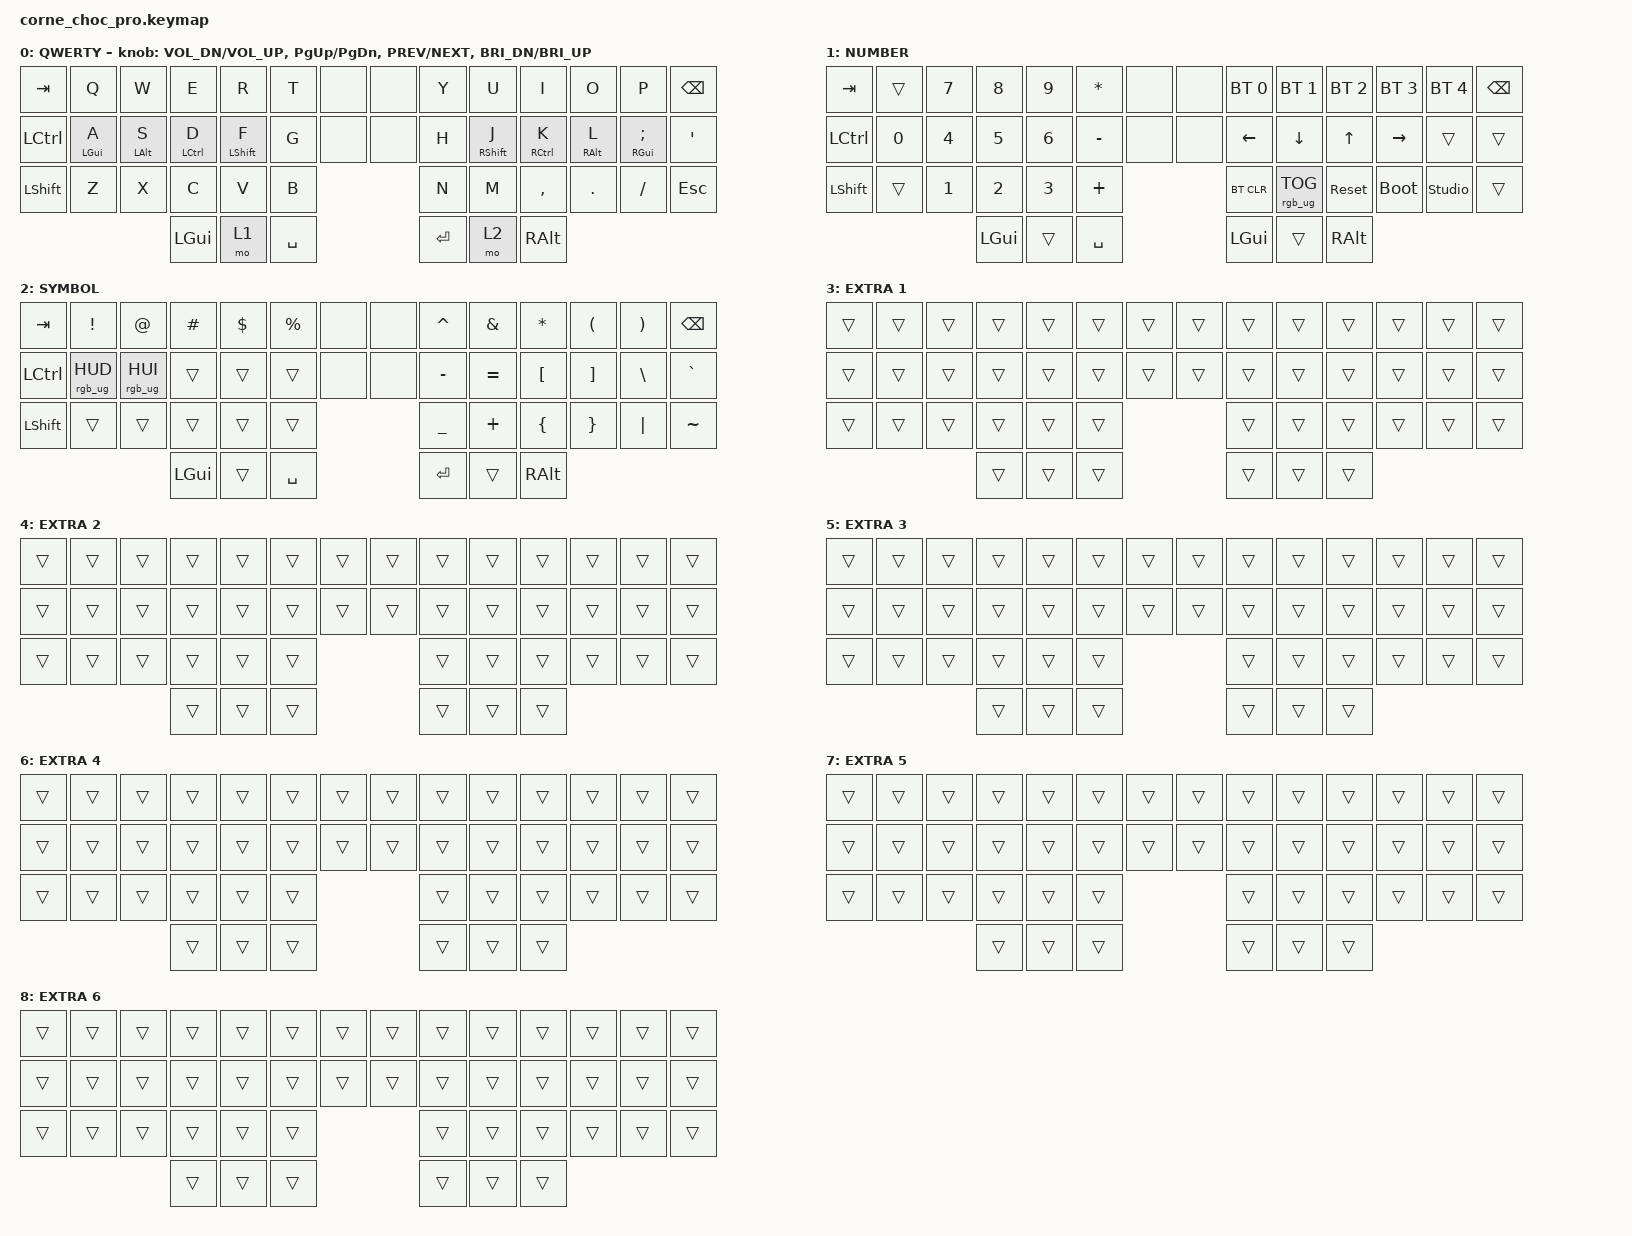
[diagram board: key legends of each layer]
/*
 * Copyright (c) 2020 The ZMK Contributors
 *
 * SPDX-License-Identifier: MIT
 */

#include <behaviors.dtsi>
#include <dt-bindings/zmk/bt.h>
#include <dt-bindings/zmk/keys.h>
#include <dt-bindings/zmk/rgb.h>

/ {
    chosen { zmk,physical-layout = &default_layout; };
};

&mt {
    tapping-term-ms = <180>;
};

/ {
    keymap {
        compatible = "zmk,keymap";

        default_layer {
            display-name = "QWERTY";

            // ------------------------------------------------------------------------------------------------------
            // |  TAB |  Q  |  W  |  E  |  R  |  T  |     |     |  Y  |  U   |  I  |  O  |  P  | BSPC |
            // | CTRL |  A  |  S  |  D  |  F  |  G  |     |     |  H  |  J   |  K  |  L  |  ;  |  '   |
            // | SHFT |  Z  |  X  |  C  |  V  |  B  |           |  N  |  M   |  ,  |  .  |  /  | ESC  |
            //                    | GUI | LWR | SPC |           | ENT | RSE  | ALT |
            // Home row mods on A S D F / J K L ; (GUI ALT CTRL SHFT / SHFT CTRL ALT GUI)

            bindings = <
&kp TAB    &kp Q           &kp W           &kp E               &kp R             &kp T        &none  &none  &kp Y    &kp U              &kp I                &kp O            &kp P               &kp BSPC
&kp LCTRL  &mt LEFT_GUI A  &mt LEFT_ALT S  &mt LEFT_CONTROL D  &mt LEFT_SHIFT F  &kp G        &none  &none  &kp H    &mt RIGHT_SHIFT J  &mt RIGHT_CONTROL K  &mt RIGHT_ALT L  &mt RIGHT_GUI SEMI  &kp SQT
&kp LSHFT  &kp Z           &kp X           &kp C               &kp V             &kp B                      &kp N    &kp M              &kp COMMA            &kp DOT          &kp FSLH            &kp ESC
                                           &kp LGUI            &mo 1             &kp SPACE                  &kp RET  &mo 2              &kp RALT
            >;

            sensor-bindings = <&inc_dec_kp C_VOL_DN C_VOL_UP &inc_dec_kp PG_UP PG_DN &inc_dec_kp C_PREV C_NEXT &inc_dec_kp C_BRI_DN C_BRI_UP>;
        };

        lower_layer {
            display-name = "NUMBER";

            // ------------------------------------------------------------------------------------------------------
            // |  TAB |     |  7  |  8  |  9  |  *  |     |     | BT1 | BT2 | BT3 | BT4  | BT5    | BSPC |
            // | CTRL |  0  |  4  |  5  |  6  |  -  |     |     | LFT | DWN |  UP | RGT  |        |      |
            // | SHFT |     |  1  |  2  |  3  |  +  |           | BTCR| RGB | RST | BOOT | Unlock |      |
            //                    | GUI |     | SPC |           | GUI |     | ALT |

            bindings = <
&kp TAB    &trans  &kp N7  &kp N8    &kp N9  &kp ASTRK    &none  &none  &bt BT_SEL 0  &bt BT_SEL 1     &bt BT_SEL 2  &bt BT_SEL 3  &bt BT_SEL 4    &kp BSPC
&kp LCTRL  &kp N0  &kp N4  &kp N5    &kp N6  &kp MINUS    &none  &none  &kp LEFT      &kp DOWN         &kp UP        &kp RIGHT     &trans          &trans
&kp LSHFT  &trans  &kp N1  &kp N2    &kp N3  &kp PLUS                   &bt BT_CLR    &rgb_ug RGB_TOG  &sys_reset    &bootloader   &studio_unlock  &trans
                           &kp LGUI  &trans  &kp SPACE                  &kp LGUI      &trans           &kp RIGHT_ALT
            >;
        };

        raise_layer {
            display-name = "SYMBOL";

            // ------------------------------------------------------------------------------------------------------
            // |  TAB |  !  |  @  |  #  |  $  |  %  |     |     |  ^  |  &  |  *  |  (  |  )  | BSPC |
            // | CTRL | HUD | HUI |     |     |     |     |     |  -  |  =  |  [  |  ]  |  \  |  `   |
            // | SHFT |     |     |     |     |     |           |  _  |  +  |  {  |  }  | "|" |  ~   |
            //                    | GUI |     | SPC |           | ENT |     | ALT |

            bindings = <
&kp TAB    &kp EXCL         &kp AT           &kp HASH  &kp DLLR  &kp PRCNT    &none  &none  &kp CARET  &kp AMPS   &kp ASTRK  &kp LPAR  &kp RPAR  &kp BSPC
&kp LCTRL  &rgb_ug RGB_HUD  &rgb_ug RGB_HUI  &trans    &trans    &trans       &none  &none  &kp MINUS  &kp EQUAL  &kp LBKT   &kp RBKT  &kp BSLH  &kp GRAVE
&kp LSHFT  &trans           &trans           &trans    &trans    &trans                     &kp UNDER  &kp PLUS   &kp LBRC   &kp RBRC  &kp PIPE  &kp TILDE
                                             &kp LGUI  &trans    &kp SPACE                  &kp RET    &trans     &kp RALT
            >;
        };

        extra_layer_1 {
            display-name = "EXTRA 1";
            bindings = <
&trans  &trans  &trans  &trans  &trans  &trans  &trans  &trans  &trans  &trans  &trans  &trans  &trans  &trans
&trans  &trans  &trans  &trans  &trans  &trans  &trans  &trans  &trans  &trans  &trans  &trans  &trans  &trans
&trans  &trans  &trans  &trans  &trans  &trans                  &trans  &trans  &trans  &trans  &trans  &trans
                        &trans  &trans  &trans                  &trans  &trans  &trans
            >;
        };

        extra_layer_2 {
            display-name = "EXTRA 2";
            bindings = <
&trans  &trans  &trans  &trans  &trans  &trans  &trans  &trans  &trans  &trans  &trans  &trans  &trans  &trans
&trans  &trans  &trans  &trans  &trans  &trans  &trans  &trans  &trans  &trans  &trans  &trans  &trans  &trans
&trans  &trans  &trans  &trans  &trans  &trans                  &trans  &trans  &trans  &trans  &trans  &trans
                        &trans  &trans  &trans                  &trans  &trans  &trans
            >;
        };

        extra_layer_3 {
            display-name = "EXTRA 3";
            bindings = <
&trans  &trans  &trans  &trans  &trans  &trans  &trans  &trans  &trans  &trans  &trans  &trans  &trans  &trans
&trans  &trans  &trans  &trans  &trans  &trans  &trans  &trans  &trans  &trans  &trans  &trans  &trans  &trans
&trans  &trans  &trans  &trans  &trans  &trans                  &trans  &trans  &trans  &trans  &trans  &trans
                        &trans  &trans  &trans                  &trans  &trans  &trans
            >;
        };

        extra_layer_4 {
            display-name = "EXTRA 4";
            bindings = <
&trans  &trans  &trans  &trans  &trans  &trans  &trans  &trans  &trans  &trans  &trans  &trans  &trans  &trans
&trans  &trans  &trans  &trans  &trans  &trans  &trans  &trans  &trans  &trans  &trans  &trans  &trans  &trans
&trans  &trans  &trans  &trans  &trans  &trans                  &trans  &trans  &trans  &trans  &trans  &trans
                        &trans  &trans  &trans                  &trans  &trans  &trans
            >;
        };

        extra_layer_5 {
            display-name = "EXTRA 5";
            bindings = <
&trans  &trans  &trans  &trans  &trans  &trans  &trans  &trans  &trans  &trans  &trans  &trans  &trans  &trans
&trans  &trans  &trans  &trans  &trans  &trans  &trans  &trans  &trans  &trans  &trans  &trans  &trans  &trans
&trans  &trans  &trans  &trans  &trans  &trans                  &trans  &trans  &trans  &trans  &trans  &trans
                        &trans  &trans  &trans                  &trans  &trans  &trans
            >;
        };

        extra_layer_6 {
            display-name = "EXTRA 6";
            bindings = <
&trans  &trans  &trans  &trans  &trans  &trans  &trans  &trans  &trans  &trans  &trans  &trans  &trans  &trans
&trans  &trans  &trans  &trans  &trans  &trans  &trans  &trans  &trans  &trans  &trans  &trans  &trans  &trans
&trans  &trans  &trans  &trans  &trans  &trans                  &trans  &trans  &trans  &trans  &trans  &trans
                        &trans  &trans  &trans                  &trans  &trans  &trans
            >;
        };
    };
};
